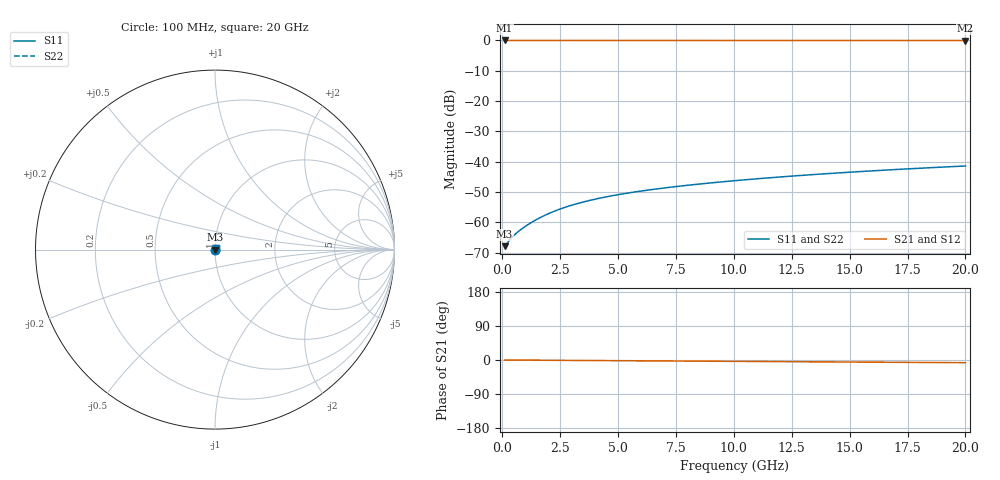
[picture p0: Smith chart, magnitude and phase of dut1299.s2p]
! Touchstone file exported from HFSS 2026.1.0
!  File:  C:/ffzhzh/LocalFiles/Ansys_Project_Files/temp_train_TSV_1299_1783194704_51560.aedt
!  Generated:  03:53:18 AM Jul  5, 2026
!  Design:  TSV
!  Project:  temp_train_TSV_1299_1783194704_51560
! Variables:
!  h_bsmrdl = 2um
!  h_ox = 20um
!  h_rdl = 5um
!  h_sub = 75.23um
!  h_tmrdl = 5um
!  h_tsv = 75.23um
!  h_via = 3um
!  l_bsmrdl = 300um
!  l_sub = 409.8um
!  l_tmrdl = 200um
!  m_sub = 200um
!  pitch = 21.83um
!  r_tsv = 4.9um
!  s_tmrdl = 10um
!  w_bsmrdl = 18um
!  w_sub = 500um
!  w_tmrdl = 12um
!  x_tsv_center1 = 206um
!  x_tsv_center2 = 524um
!  x_tsv_center3 = 736um
!  x_tsv_center4 = 1054um
!  x_tsv_center5 = 1266um
!  x_tsv_center6 = 1584um
# GHz S MA R 50.000000
! Terminal data exported
! Port[1] = TSV1_1_T1
! Port[2] = TSV1_1_T2
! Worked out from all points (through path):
!   200 points, 100 MHz to 20 GHz, reference 50 ohm
!   highest |S21| = 0.00 dB at 100 MHz (marker M1); lowest = 0.0 dB at 20 GHz (marker M2)
!   lowest |S11| = -67.8 dB at 100 MHz (marker M3), VSWR 1.00, Z = 50 + j0.00919 ohm
!   |S11| at or under -10 dB: start of sweep to end of sweep
!   |S22| runs from -67.8 to -41.4 dB; largest |S21 - S12| = 3.1e-15
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0.1  0.0004064 13.1  0.9996 -0.0  0.9996 -0.0  0.0004064 13.1
! Gamma 0 0 0 0
! Port Impedance 50 0 50 0
0.4  0.0005576 34.8  0.9995 -0.2  0.9995 -0.2  0.0005576 34.8
0.5  0.0006105 38.6  0.9995 -0.2  0.9995 -0.2  0.0006105 38.6
0.6  0.0006619 41.6  0.9995 -0.2  0.9995 -0.2  0.0006619 41.6
0.8  0.0007629 46.6  0.9995 -0.3  0.9995 -0.3  0.0007629 46.6
1  0.0008647 50.6  0.9994 -0.4  0.9994 -0.4  0.0008647 50.6
1.4  0.001075 56.2  0.9994 -0.5  0.9994 -0.5  0.001075 56.2
1.8  0.00129 59.7  0.9993 -0.7  0.9993 -0.7  0.00129 59.7
2.3  0.001559 62.3  0.9993 -0.8  0.9993 -0.8  0.001559 62.3
2.6  0.001718 63.3  0.9992 -0.9  0.9992 -0.9  0.001718 63.3
2.9  0.001874 64.0  0.9992 -1.1  0.9992 -1.1  0.001874 64.0
3.5  0.002175 64.9  0.9991 -1.3  0.9991 -1.3  0.002175 64.9
4.2  0.002509 65.5  0.999 -1.5  0.999 -1.5  0.002509 65.5
4.9  0.002826 65.9  0.9989 -1.8  0.9989 -1.8  0.002826 65.9
5.8  0.003213 66.2  0.9988 -2.1  0.9988 -2.1  0.003213 66.2
6.8  0.003624 66.6  0.9987 -2.4  0.9987 -2.4  0.003624 66.6
8.3  0.004216 67.1  0.9986 -3.0  0.9986 -3.0  0.004216 67.1
10.1  0.004906 67.6  0.9984 -3.6  0.9984 -3.6  0.004906 67.6
11.7  0.005509 67.9  0.9983 -4.2  0.9983 -4.2  0.005509 67.9
13.4  0.006143 68.1  0.9982 -4.8  0.9982 -4.8  0.006143 68.1
16.7  0.007351 68.1  0.998 -5.9  0.998 -5.9  0.007351 68.1
20  0.008524 67.7  0.9977 -7.1  0.9977 -7.1  0.008524 67.7
